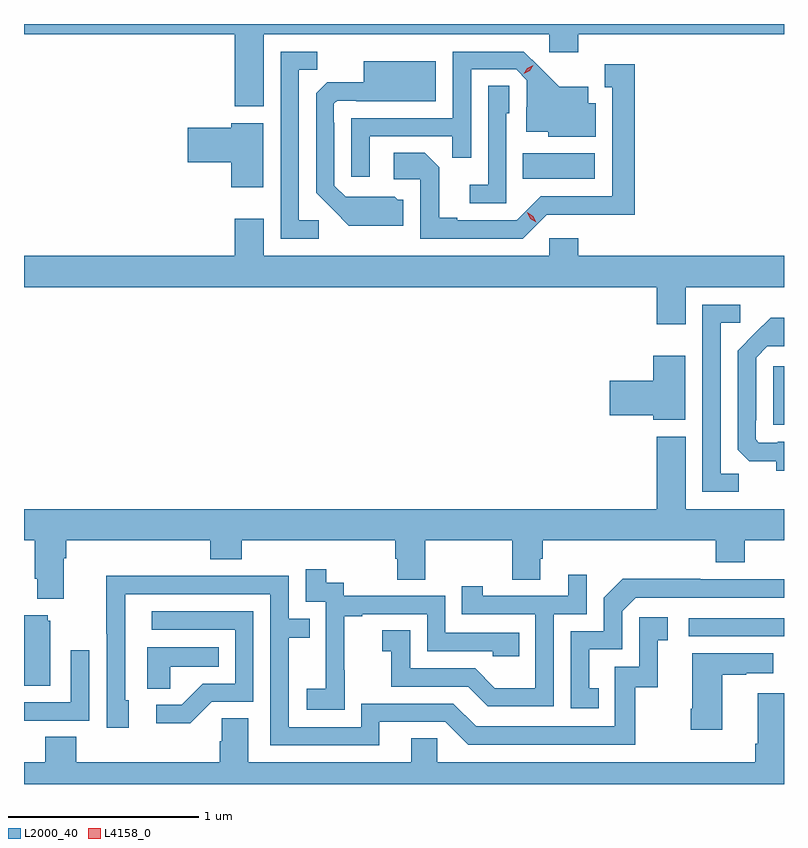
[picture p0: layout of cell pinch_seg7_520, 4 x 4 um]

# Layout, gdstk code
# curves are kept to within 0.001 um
import gdstk
lib = gdstk.Library(unit=1e-6, precision=1e-09)
def R(c, l, rs):  # rectangles x0, y0, x1, y1
    for r in rs: c.add(gdstk.rectangle(r[:2], r[2:], *l))
def P(c, l, *ps):  # polygons
    for p in ps: c.add(gdstk.Polygon(p, *l))
L2000_40 = (2000, 40)
L4158_0 = (4158, 0)

pinch_seg7_520 = lib.new_cell('pinch_seg7_520')
R(pinch_seg7_520, L2000_40, [(150.453,1065.378,150.954,1065.474), (150.897,1066.491,150.954,1066.801), (149.578,1067.786,149.959,1067.92)])
P(pinch_seg7_520, L2000_40, [(148.216,1068.548),(149.718,1068.548),(149.718,1068.453),(149.87,1068.453),(149.87,1068.548),(150.954,1068.548),(150.954,1068.601),(146.954,1068.601),(146.954,1068.548),(148.064,1068.548),(148.064,1068.168),(148.216,1068.168)],
  [(148.773,1068.009),(149.209,1068.009),(149.209,1067.896),(149.307,1067.896),(149.307,1068.363),(149.544,1068.363),(149.601,1068.306),(149.601,1068.164),(149.597,1068.164),(149.597,1068.035),(149.712,1068.035),(149.712,1068.008),(149.962,1068.008),(149.962,1068.184),(149.923,1068.184),(149.923,1068.271),(149.771,1068.271),(149.584,1068.456),(149.211,1068.456),(149.211,1068.105),(148.677,1068.105),(148.677,1067.796),(148.773,1067.796)],
  [(148.504,1067.568),(148.401,1067.568),(148.401,1068.361),(148.497,1068.361),(148.497,1068.456),(148.305,1068.456),(148.305,1067.472),(148.504,1067.472)],
  [(148.951,1067.676),(148.92,1067.676),(148.904,1067.692),(148.647,1067.691),(148.587,1067.751),(148.587,1068.08),(148.584,1068.08),(148.584,1068.18),(148.602,1068.198),(148.702,1068.198),(148.702,1068.194),(149.122,1068.194),(149.122,1068.406),(148.742,1068.406),(148.742,1068.295),(148.55,1068.295),(148.491,1068.236),(148.491,1067.714),(148.663,1067.54),(148.951,1067.54)],
  [(149.706,1067.598),(150.169,1067.597),(150.169,1068.388),(150.011,1068.388),(150.011,1068.267),(150.05,1068.267),(150.05,1067.694),(149.673,1067.694),(149.547,1067.568),(149.233,1067.568),(149.233,1067.581),(149.139,1067.581),(149.139,1067.848),(149.063,1067.924),(148.899,1067.924),(148.899,1067.784),(149.04,1067.784),(149.04,1067.472),(149.58,1067.472)],
  [(149.493,1068.132),(149.508,1068.132),(149.508,1068.275),(149.397,1068.275),(149.397,1067.755),(149.301,1067.755),(149.301,1067.658),(149.493,1067.658)],
  [(148.213,1068.079),(148.046,1068.079),(148.046,1068.056),(147.816,1068.056),(147.816,1067.873),(148.046,1067.873),(148.046,1067.742),(148.213,1067.742)],
  [(150.436,1067.216),(150.954,1067.216),(150.954,1067.38),(149.87,1067.38),(149.87,1067.473),(149.718,1067.473),(149.718,1067.38),(148.216,1067.38),(148.216,1067.575),(148.064,1067.575),(148.064,1067.38),(146.954,1067.38),(146.954,1067.216),(150.284,1067.216),(150.284,1067.022),(150.436,1067.022)],
  [(150.717,1066.235),(150.621,1066.235),(150.621,1067.028),(150.724,1067.028),(150.724,1067.124),(150.525,1067.124),(150.525,1066.14),(150.717,1066.14)],
  [(150.954,1066.402),(150.922,1066.402),(150.922,1066.398),(150.822,1066.398),(150.804,1066.416),(150.804,1066.516),(150.807,1066.516),(150.807,1066.845),(150.867,1066.905),(150.954,1066.905),(150.954,1067.056),(150.883,1067.056),(150.711,1066.882),(150.711,1066.36),(150.77,1066.301),(150.914,1066.301),(150.914,1066.25),(150.954,1066.25)],
  [(150.433,1066.855),(150.266,1066.855),(150.266,1066.724),(150.036,1066.724),(150.036,1066.541),(150.266,1066.541),(150.266,1066.517),(150.433,1066.517)],
  [(147.163,1065.788),(147.176,1065.788),(147.176,1065.884),(147.935,1065.884),(147.935,1065.785),(148.1,1065.785),(148.1,1065.884),(148.907,1065.884),(148.907,1065.786),(148.919,1065.786),(148.919,1065.676),(149.067,1065.676),(149.067,1065.884),(149.524,1065.884),(149.524,1065.676),(149.671,1065.676),(149.671,1065.786),(149.684,1065.786),(149.684,1065.884),(150.596,1065.884),(150.596,1065.767),(150.748,1065.767),(150.748,1065.884),(150.954,1065.884),(150.954,1066.048),(150.436,1066.048),(150.436,1066.429),(150.284,1066.429),(150.284,1066.048),(146.954,1066.048),(146.954,1065.884),(147.011,1065.884),(147.011,1065.682),(147.023,1065.682),(147.023,1065.575),(147.163,1065.575)],
  [(148.641,1065.199),(148.64,1065.199),(148.64,1065.483),(148.735,1065.483),(148.735,1065.495),(149.076,1065.495),(149.076,1065.3),(149.421,1065.3),(149.421,1065.273),(149.561,1065.273),(149.561,1065.396),(149.172,1065.396),(149.172,1065.591),(148.638,1065.591),(148.638,1065.66),(148.546,1065.66),(148.546,1065.73),(148.437,1065.73),(148.437,1065.561),(148.542,1065.561),(148.542,1065.332),(148.541,1065.332),(148.541,1065.103),(148.443,1065.103),(148.443,1064.993),(148.641,1064.993)],
  [(149.742,1065.495),(149.916,1065.495),(149.916,1065.703),(149.819,1065.703),(149.819,1065.591),(149.368,1065.591),(149.368,1065.643),(149.257,1065.643),(149.257,1065.495),(149.646,1065.495),(149.646,1065.106),(149.432,1065.106),(149.328,1065.21),(148.986,1065.21),(148.986,1065.409),(148.839,1065.409),(148.839,1065.299),(148.888,1065.299),(148.888,1065.114),(149.291,1065.114),(149.396,1065.009),(149.742,1065.009)],
  [(148.825,1064.928),(149.172,1064.928),(149.292,1064.808),(150.172,1064.808),(150.172,1065.111),(150.29,1065.111),(150.29,1065.357),(150.343,1065.357),(150.343,1065.478),(150.192,1065.478),(150.192,1065.219),(150.063,1065.219),(150.063,1064.904),(149.334,1064.904),(149.214,1065.024),(148.728,1065.024),(148.728,1064.901),(148.347,1064.901),(148.347,1065.37),(148.457,1065.37),(148.457,1065.471),(148.347,1065.471),(148.347,1065.696),(147.851,1065.696),(147.851,1065.698),(147.388,1065.698),(147.388,1065.391),(147.39,1065.391),(147.39,1064.898),(147.505,1064.898),(147.505,1065.042),(147.486,1065.042),(147.486,1065.6),(148.251,1065.6),(148.251,1064.805),(148.825,1064.805)],
  [(149.978,1065.105),(149.929,1065.105),(149.929,1065.309),(150.102,1065.309),(150.102,1065.51),(150.174,1065.582),(150.954,1065.582),(150.954,1065.678),(150.512,1065.678),(150.512,1065.68),(150.104,1065.68),(150.006,1065.582),(150.006,1065.405),(149.832,1065.405),(149.832,1065),(149.978,1065)],
  [(147.942,1065.033),(148.161,1065.033),(148.161,1065.51),(147.627,1065.51),(147.627,1065.414),(148.065,1065.414),(148.065,1065.129),(147.896,1065.129),(147.785,1065.018),(147.651,1065.018),(147.651,1064.921),(147.829,1064.921)],
  [(147.091,1065.459),(147.08,1065.459),(147.08,1065.49),(146.954,1065.49),(146.954,1065.119),(147.091,1065.119)],
  [(147.723,1065.218),(147.98,1065.218),(147.98,1065.322),(147.602,1065.322),(147.602,1065.103),(147.723,1065.103)],
  [(146.981,1064.934),(147.297,1064.934),(147.297,1065.304),(147.201,1065.304),(147.201,1065.03),(146.954,1065.03),(146.954,1064.933),(146.981,1064.933)],
  [(150.628,1065.175),(150.755,1065.175),(150.755,1065.185),(150.898,1065.185),(150.898,1065.289),(150.47,1065.289),(150.47,1064.998),(150.463,1064.998),(150.463,1064.886),(150.628,1064.886)],
  [(150.954,1065.079),(150.815,1065.079),(150.815,1064.812),(150.803,1064.812),(150.803,1064.716),(149.13,1064.716),(149.13,1064.843),(148.991,1064.843),(148.991,1064.716),(148.135,1064.716),(148.135,1064.948),(147.996,1064.948),(147.996,1064.825),(147.983,1064.825),(147.983,1064.716),(147.23,1064.716),(147.23,1064.849),(147.065,1064.849),(147.065,1064.716),(146.954,1064.716),(146.954,1064.601),(150.954,1064.601)])
P(pinch_seg7_520, L4158_0, [(149.65,1067.557),(149.618,1067.576),(149.602,1067.609),(149.602,1067.609),(149.602,1067.609),(149.633,1067.59),(149.65,1067.557),(149.65,1067.557)],
  [(149.585,1068.338),(149.585,1068.338),(149.602,1068.368),(149.633,1068.384),(149.633,1068.384),(149.633,1068.384),(149.616,1068.354),(149.585,1068.338)])

lib.write_gds('pinch_seg7_520.gds')
